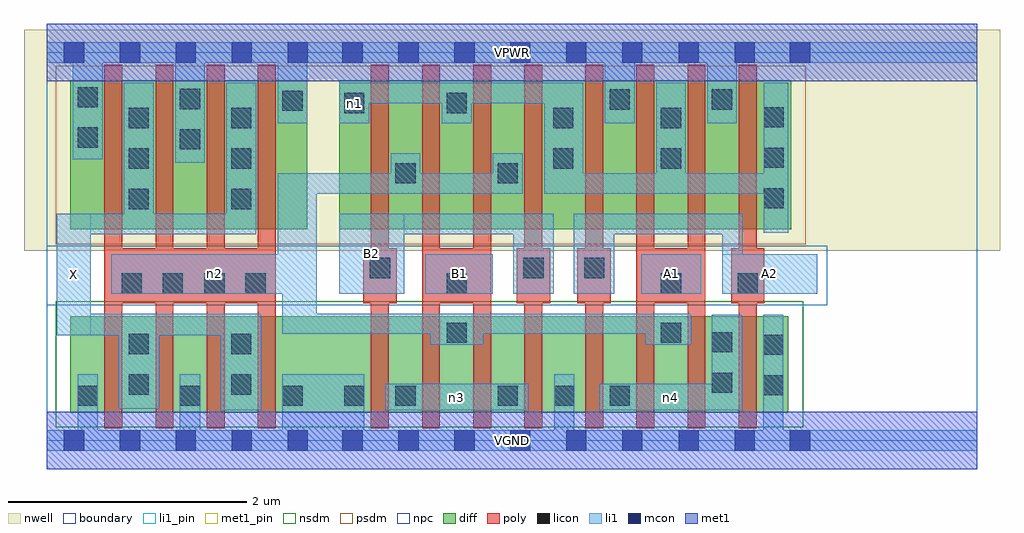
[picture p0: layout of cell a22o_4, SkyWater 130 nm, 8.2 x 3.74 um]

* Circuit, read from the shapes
.subckt a22o_4 A1 A2 B1 B2 VGND VPWR X n1 n2 n3 n4
XM1 X n2 VGND VSUBS sky130_fd_pr__nfet_01v8 w=0.81 l=0.15 m=4
XM2 n3 B2 VGND VSUBS sky130_fd_pr__nfet_01v8 w=0.81 l=0.15 m=2
XM3 n2 B1 n3 VSUBS sky130_fd_pr__nfet_01v8 w=0.81 l=0.15 m=2
XM4 n4 A2 VGND VSUBS sky130_fd_pr__nfet_01v8 w=0.81 l=0.15 m=2
XM5 n2 A1 n4 VSUBS sky130_fd_pr__nfet_01v8 w=0.81 l=0.15 m=2
XM6 X n2 VPWR n5 sky130_fd_pr__pfet_01v8 w=1.25 l=0.15 m=4
XM7 n2 B2 n1 n5 sky130_fd_pr__pfet_01v8 w=1.25 l=0.15 m=2
XM8 n1 B1 n2 n5 sky130_fd_pr__pfet_01v8 w=1.25 l=0.15 m=2
XM9 VPWR A2 n1 n5 sky130_fd_pr__pfet_01v8 w=1.25 l=0.15 m=2
XM10 n1 A1 VPWR n5 sky130_fd_pr__pfet_01v8 w=1.25 l=0.15 m=2
.ends

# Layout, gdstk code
import gdstk
lib = gdstk.Library(unit=1e-6, precision=1e-09)
def R(c, l, rs):  # rectangles x0, y0, x1, y1
    for r in rs: c.add(gdstk.rectangle(r[:2], r[2:], *l))
def A(c, l, x, y, w, h, nx, ny, dx, dy):  # array of equal rectangles
    R(c, l, [(x+i*dx, y+j*dy, x+i*dx+w, y+j*dy+h) for i in range(nx) for j in range(ny)])
nwell = (64, 20)
diff = (65, 20)
poly = (66, 20)
licon = (66, 44)
li1_pin = (67, 16)
li1 = (67, 20)
mcon = (67, 44)
met1_pin = (68, 16)
met1 = (68, 20)
nsdm = (93, 44)
psdm = (94, 20)
npc = (95, 20)
boundary = (235, 4)

a22o_4 = lib.new_cell('a22o_4')
R(a22o_4, nwell, [(-0.19,1.595,8.01,3.45), (0,1.595,7.82,3.45)])
R(a22o_4, diff, [(0.2,0.235,6.23,1.045), (0.2,1.775,2.19,3.025), (2.46,1.775,6.255,3.025)])
A(a22o_4, poly, 0.485, 0.105, 0.15, 3.05, 4, 1, 0.43, 0)
A(a22o_4, poly, 2.725, 0.105, 0.15, 3.05, 4, 1, 0.43, 0)
A(a22o_4, poly, 4.525, 0.105, 0.15, 3.05, 4, 1, 0.43, 0)
R(a22o_4, poly, [(0.485,1.155,1.925,1.615), (2.66,1.155,2.94,1.615), (3.155,1.155,3.735,1.615), (3.95,1.155,4.23,1.615), (4.46,1.155,4.74,1.615), (4.955,1.155,5.535,1.615), (5.75,1.155,6.03,1.615)])
A(a22o_4, licon, 0.26, 0.29, 0.17, 0.17, 3, 1, 0.86, 0)
A(a22o_4, licon, 0.69, 1.945, 0.17, 0.17, 1, 3, 0, 0.34)
A(a22o_4, licon, 1.55, 1.945, 0.17, 0.17, 1, 3, 0, 0.34)
A(a22o_4, licon, 6.025, 1.95, 0.17, 0.17, 1, 3, 0, 0.34)
R(a22o_4, licon, [(2.5,0.29,2.67,0.46), (2.93,0.29,3.1,0.46), (3.79,0.29,3.96,0.46), (4.265,0.29,4.435,0.46), (4.73,0.29,4.9,0.46), (6.02,0.38,6.19,0.55), (0.69,0.385,0.86,0.555), (1.55,0.385,1.72,0.555), (5.59,0.4,5.76,0.57), (6.02,0.72,6.19,0.89), (0.69,0.725,0.86,0.895), (1.55,0.725,1.72,0.895), (5.59,0.74,5.76,0.91), (3.36,0.82,3.53,0.99), (5.16,0.82,5.33,0.99), (0.63,1.235,0.8,1.405), (0.975,1.235,1.145,1.405), (1.325,1.235,1.495,1.405), (1.67,1.235,1.84,1.405), (3.36,1.235,3.53,1.405), (5.16,1.235,5.33,1.405), (5.805,1.235,5.975,1.405), (2.715,1.365,2.885,1.535), (4.005,1.365,4.175,1.535), (4.515,1.365,4.685,1.535), (2.93,2.16,3.1,2.33), (3.79,2.16,3.96,2.33), (4.255,2.285,4.425,2.455), (5.16,2.285,5.33,2.455), (1.12,2.445,1.29,2.615), (0.26,2.46,0.43,2.63), (4.255,2.625,4.425,2.795), (5.16,2.625,5.33,2.795), (2.5,2.75,2.67,2.92), (3.36,2.75,3.53,2.92), (1.98,2.77,2.15,2.94), (4.73,2.78,4.9,2.95), (5.59,2.78,5.76,2.95), (1.12,2.785,1.29,2.955), (0.26,2.8,0.43,2.97)])
R(a22o_4, li1_pin, [(0.085,0.885,0.37,1.905), (2.46,1.235,3.005,1.905), (3.18,1.235,3.75,1.565), (4.995,1.235,5.5,1.565), (5.675,1.235,6.475,1.565)])
R(a22o_4, li1, [(0,-0.085,7.82,0.085), (0.26,-0.085,0.43,0.555), (1.12,-0.085,1.29,0.555), (1.98,-0.085,2.67,0.555), (4.265,-0.085,4.435,0.555), (6.02,-0.085,6.19,1.055), (1.465,0.255,1.805,1.065), (2.845,0.255,4.045,0.475), (4.645,0.255,5.845,0.475), (5.59,0.255,5.845,1.055), (0.605,0.265,0.945,1.065), (3.225,0.805,3.67,1.065), (5.03,0.805,5.415,1.065), (0.085,0.885,1.805,1.065), (0.085,0.885,0.37,1.905), (1.98,0.895,5.415,1.065), (1.98,0.895,2.27,2.245), (0.545,1.235,2.27,1.565), (1.94,1.235,2.27,2.245), (2.46,1.235,3.005,1.905), (3.18,1.235,3.75,1.565), (3.92,1.235,4.26,1.905), (4.43,1.235,4.77,1.905), (4.995,1.235,5.5,1.565), (5.675,1.235,6.475,1.565), (5.675,1.235,5.85,1.905), (0.085,1.735,1.76,1.905), (0.65,1.735,0.9,3.005), (1.51,1.735,1.76,3.005), (2.46,1.735,4.26,1.905), (4.43,1.735,5.85,1.905), (6.025,1.745,6.23,3.005), (1.94,2.075,4,2.245), (2.89,2.075,3.14,2.415), (3.75,2.075,4,2.415), (4.18,2.075,6.23,2.245), (4.18,2.075,4.51,3.005), (5.12,2.075,5.37,3.005), (1.08,2.335,1.33,3.345), (0.22,2.365,0.47,3.345), (1.94,2.665,2.19,3.345), (2.46,2.665,2.71,3.005), (3.32,2.665,3.57,3.005), (4.69,2.665,4.94,3.345), (5.55,2.665,5.8,3.345), (2.46,2.835,4.51,3.005), (0,3.175,7.82,3.345)])
A(a22o_4, mcon, 0.145, -0.085, 0.17, 0.17, 5, 2, 0.47, 3.26)
A(a22o_4, mcon, 2.485, -0.085, 0.17, 0.17, 6, 2, 0.47, 3.26)
R(a22o_4, mcon, [(5.31,-0.085,5.48,0.085), (5.78,-0.085,5.95,0.085), (6.245,-0.085,6.415,0.085), (5.31,3.175,5.48,3.345), (5.78,3.175,5.95,3.345), (6.245,3.175,6.415,3.345)])
R(a22o_4, met1_pin, [(0,-0.24,7.82,0.24), (0,3.02,7.82,3.5)])
R(a22o_4, met1, [(0,-0.24,7.82,0.24), (0,3.02,7.82,3.5)])
R(a22o_4, nsdm, [(0.075,0.11,6.355,1.17)])
R(a22o_4, psdm, [(0.075,1.65,6.38,3.15)])
R(a22o_4, npc, [(0,1.135,6.56,1.635)])
R(a22o_4, boundary, [(0,0,7.82,3.26)])
a22o_4.add(gdstk.Label('A1', (5.247,1.4), layer=67, texttype=5))
a22o_4.add(gdstk.Label('A2', (6.075,1.4), layer=67, texttype=5))
a22o_4.add(gdstk.Label('B1', (3.465,1.4), layer=67, texttype=5))
a22o_4.add(gdstk.Label('B2', (2.732,1.57), layer=67, texttype=5))
a22o_4.add(gdstk.Label('X', (0.227,1.395), layer=67, texttype=5))
a22o_4.add(gdstk.Label('n3', (3.445,0.365), layer=67, texttype=5))
a22o_4.add(gdstk.Label('n4', (5.245,0.365), layer=67, texttype=5))
a22o_4.add(gdstk.Label('n2', (1.407,1.4), layer=67, texttype=5))
a22o_4.add(gdstk.Label('n1', (2.585,2.835), layer=67, texttype=5))
a22o_4.add(gdstk.Label('VPWR', (3.91,3.26), layer=68, texttype=5))
a22o_4.add(gdstk.Label('VGND', (3.91,0), layer=68, texttype=5))
a22o_4.add(gdstk.Label('A1', (5.247,1.4), layer=67, texttype=16))
a22o_4.add(gdstk.Label('A2', (6.075,1.4), layer=67, texttype=16))
a22o_4.add(gdstk.Label('B1', (3.465,1.4), layer=67, texttype=16))
a22o_4.add(gdstk.Label('B2', (2.732,1.57), layer=67, texttype=16))
a22o_4.add(gdstk.Label('X', (0.227,1.395), layer=67, texttype=16))
a22o_4.add(gdstk.Label('VPWR', (3.91,3.26), layer=68, texttype=16))
a22o_4.add(gdstk.Label('VGND', (3.91,0), layer=68, texttype=16))

lib.write_gds('a22o_4.gds')
